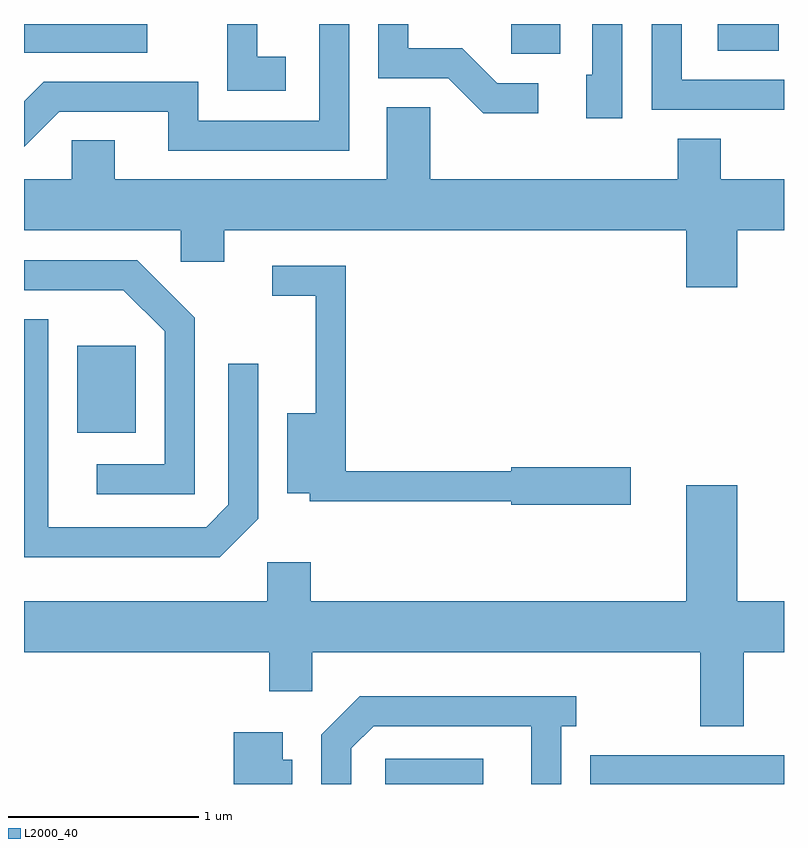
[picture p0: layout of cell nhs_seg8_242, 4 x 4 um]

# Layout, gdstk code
import gdstk
lib = gdstk.Library(unit=1e-6, precision=1e-09)
def R(c, l, rs):  # rectangles x0, y0, x1, y1
    for r in rs: c.add(gdstk.rectangle(r[:2], r[2:], *l))
def P(c, l, *ps):  # polygons
    for p in ps: c.add(gdstk.Polygon(p, *l))
L2000_40 = (2000, 40)

nhs_seg8_242 = lib.new_cell('nhs_seg8_242')
R(nhs_seg8_242, L2000_40, [(193.511,1882.342,194.028,1882.474), (194.591,1882.342,195.611,1882.494), (191.891,1884.191,192.199,1884.649), (194.176,1886.186,194.434,1886.342), (191.611,1886.191,192.259,1886.342), (195.261,1886.201,195.584,1886.342)])
P(nhs_seg8_242, L2000_40, [(193.324,1886.342),(193.166,1886.342),(193.166,1885.834),(192.529,1885.834),(192.529,1886.039),(191.714,1886.039),(191.611,1885.936),(191.611,1885.695),(191.797,1885.881),(192.371,1885.881),(192.371,1885.676),(193.324,1885.676)],
  [(194.318,1886.029),(194.102,1886.029),(193.917,1886.214),(193.634,1886.214),(193.634,1886.342),(193.476,1886.342),(193.476,1886.056),(193.844,1886.056),(194.029,1885.871),(194.318,1885.871)],
  [(195.611,1886.049),(195.074,1886.049),(195.074,1886.342),(194.916,1886.342),(194.916,1885.891),(195.611,1885.891)],
  [(194.759,1886.342),(194.601,1886.342),(194.601,1886.074),(194.571,1886.074),(194.571,1885.846),(194.759,1885.846)],
  [(192.989,1886.169),(192.839,1886.169),(192.839,1886.342),(192.681,1886.342),(192.681,1885.991),(192.989,1885.991)],
  [(195.364,1885.256),(195.611,1885.256),(195.611,1885.524),(195.279,1885.524),(195.279,1885.739),(195.051,1885.739),(195.051,1885.524),(193.749,1885.524),(193.749,1885.904),(193.521,1885.904),(193.521,1885.524),(192.089,1885.524),(192.089,1885.729),(191.861,1885.729),(191.861,1885.524),(191.611,1885.524),(191.611,1885.256),(192.436,1885.256),(192.436,1885.091),(192.664,1885.091),(192.664,1885.256),(195.096,1885.256),(195.096,1884.956),(195.364,1884.956)],
  [(192.509,1884.797),(192.207,1885.099),(191.611,1885.099),(191.611,1884.941),(192.134,1884.941),(192.351,1884.724),(192.351,1884.024),(191.993,1884.024),(191.993,1883.866),(192.509,1883.866)],
  [(194.804,1884.009),(194.176,1884.009),(194.176,1883.989),(193.304,1883.989),(193.304,1885.069),(192.918,1885.069),(192.918,1884.911),(193.146,1884.911),(193.146,1884.294),(192.996,1884.294),(192.996,1883.871),(193.116,1883.871),(193.116,1883.831),(194.176,1883.831),(194.176,1883.811),(194.804,1883.811)],
  [(192.844,1883.739),(192.844,1884.553),(192.686,1884.553),(192.686,1883.812),(192.569,1883.694),(191.739,1883.694),(191.739,1884.789),(191.611,1884.789),(191.611,1883.536),(192.642,1883.536)],
  [(195.399,1883.036),(195.611,1883.036),(195.611,1883.304),(195.364,1883.304),(195.364,1883.914),(195.096,1883.914),(195.096,1883.304),(193.119,1883.304),(193.119,1883.509),(192.891,1883.509),(192.891,1883.304),(191.611,1883.304),(191.611,1883.036),(192.901,1883.036),(192.901,1882.831),(193.129,1882.831),(193.129,1883.036),(195.171,1883.036),(195.171,1882.646),(195.399,1882.646)],
  [(193.334,1882.529),(193.452,1882.646),(194.281,1882.646),(194.281,1882.342),(194.439,1882.342),(194.439,1882.646),(194.518,1882.646),(194.518,1882.804),(193.379,1882.804),(193.176,1882.602),(193.176,1882.342),(193.334,1882.342)],
  [(193.024,1882.469),(192.974,1882.469),(192.974,1882.614),(192.716,1882.614),(192.716,1882.342),(193.024,1882.342)])

lib.write_gds('nhs_seg8_242.gds')
